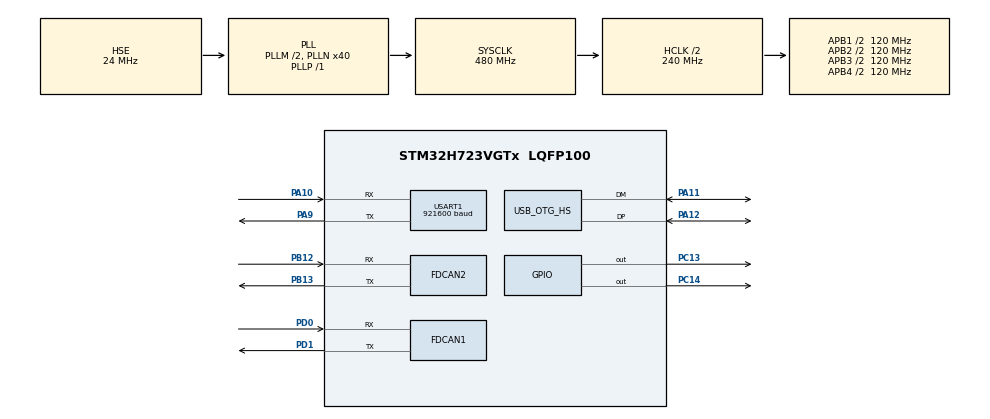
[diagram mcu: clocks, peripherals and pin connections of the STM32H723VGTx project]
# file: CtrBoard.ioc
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CORTEX_M7.CPU_DCache=Disabled
CORTEX_M7.CPU_ICache=Disabled
FDCAN1.AutoRetransmission=ENABLE
FDCAN1.CalculateBaudRateNominal=1000000
FDCAN1.CalculateTimeBitNominal=1000
FDCAN1.CalculateTimeQuantumNominal=12.5
FDCAN1.DataPrescaler=1
FDCAN1.DataSyncJumpWidth=2
FDCAN1.DataTimeSeg1=13
FDCAN1.DataTimeSeg2=2
FDCAN1.ExtFiltersNbr=4
FDCAN1.FrameFormat=FDCAN_FRAME_FD_BRS
FDCAN1.NominalPrescaler=1
FDCAN1.NominalSyncJumpWidth=20
FDCAN1.NominalTimeSeg1=59
FDCAN1.NominalTimeSeg2=20
FDCAN1.ProtocolException=ENABLE
FDCAN1.RxBufferSize=FDCAN_DATA_BYTES_8
FDCAN1.RxBuffersNbr=2
FDCAN1.RxFifo0ElmtSize=FDCAN_DATA_BYTES_8
FDCAN1.RxFifo0ElmtsNbr=10
FDCAN1.RxFifo1ElmtSize=FDCAN_DATA_BYTES_8
FDCAN1.RxFifo1ElmtsNbr=10
FDCAN1.StdFiltersNbr=4
FDCAN1.TxBuffersNbr=10
FDCAN1.TxElmtSize=FDCAN_DATA_BYTES_8
FDCAN1.TxEventsNbr=10
FDCAN1.TxFifoQueueElmtsNbr=10
FDCAN2.AutoRetransmission=ENABLE
FDCAN2.CalculateBaudRateNominal=1000000
FDCAN2.CalculateTimeBitNominal=1000
FDCAN2.CalculateTimeQuantumNominal=12.5
FDCAN2.DataSyncJumpWidth=2
FDCAN2.DataTimeSeg1=13
FDCAN2.DataTimeSeg2=2
FDCAN2.ExtFiltersNbr=4
FDCAN2.FrameFormat=FDCAN_FRAME_FD_BRS
FDCAN2.MessageRAMOffset=1024
FDCAN2.NominalPrescaler=1
FDCAN2.NominalSyncJumpWidth=20
FDCAN2.NominalTimeSeg1=59
FDCAN2.NominalTimeSeg2=20
FDCAN2.ProtocolException=ENABLE
FDCAN2.RxBuffersNbr=2
FDCAN2.RxFifo0ElmtsNbr=10
FDCAN2.RxFifo1ElmtsNbr=10
FDCAN2.StdFiltersNbr=4
FDCAN2.TxBuffersNbr=10
FDCAN2.TxEventsNbr=10
FDCAN2.TxFifoQueueElmtsNbr=10
Mcu.Family=STM32H7
Mcu.Name=STM32H723VGTx
Mcu.Package=LQFP100
NVIC.FDCAN1_IT0_IRQn=true\:0\:0\:false\:false\:true\:true\:true\:true
NVIC.FDCAN1_IT1_IRQn=true\:0\:0\:false\:false\:true\:true\:true\:true
NVIC.FDCAN2_IT0_IRQn=true\:0\:0\:false\:false\:true\:true\:true\:true
NVIC.FDCAN2_IT1_IRQn=true\:0\:0\:false\:false\:true\:true\:true\:true
NVIC.FDCAN_CAL_IRQn=true\:0\:0\:false\:false\:true\:true\:true\:true
NVIC.OTG_HS_IRQn=true\:0\:0\:false\:false\:true\:false\:true\:true
NVIC.PriorityGroup=NVIC_PRIORITYGROUP_4
NVIC.TIM3_IRQn=true\:0\:0\:false\:false\:true\:true\:true\:true
NVIC.TIM4_IRQn=true\:0\:0\:false\:false\:true\:true\:true\:true
PA10.Mode=Asynchronous
PA10.Signal=USART1_RX
PA11.Mode=Device_Only_FS
PA11.Signal=USB_OTG_HS_DM
PA12.Mode=Device_Only_FS
PA12.Signal=USB_OTG_HS_DP
PA13(JTMS/SWDIO).Mode=Serial_Wire
PA13(JTMS/SWDIO).Signal=DEBUG_JTMS-SWDIO
PA14(JTCK/SWCLK).Mode=Serial_Wire
PA14(JTCK/SWCLK).Signal=DEBUG_JTCK-SWCLK
PA9.Mode=Asynchronous
PA9.Signal=USART1_TX
PB12.Mode=FDCAN_Activate
PB12.Signal=FDCAN2_RX
PB13.Mode=FDCAN_Activate
PB13.Signal=FDCAN2_TX
PC13.GPIO_PuPd=GPIO_PULLUP
PC13.PinState=GPIO_PIN_SET
PC13.Signal=GPIO_Output
PC14-OSC32_IN.GPIO_ModeDefaultOutputPP=GPIO_MODE_OUTPUT_PP
PC14-OSC32_IN.GPIO_PuPd=GPIO_PULLUP
PC14-OSC32_IN.GPIO_Speed=GPIO_SPEED_FREQ_LOW
PC14-OSC32_IN.PinState=GPIO_PIN_SET
PC14-OSC32_IN.Signal=GPIO_Output
PD0.Mode=FDCAN_Activate
PD0.Signal=FDCAN1_RX
PD1.Mode=FDCAN_Activate
PD1.Signal=FDCAN1_TX
PH0-OSC_IN.Mode=HSE-External-Oscillator
PH0-OSC_IN.Signal=RCC_OSC_IN
PH1-OSC_OUT.Mode=HSE-External-Oscillator
PH1-OSC_OUT.Signal=RCC_OSC_OUT
ProjectManager.HeapSize=0x2000
ProjectManager.StackSize=0x400
ProjectManager.TargetToolchain=MDK-ARM V5.32
RCC.ADCFreq_Value=48375000
RCC.APB1Freq_Value=120000000
RCC.APB2Freq_Value=120000000
RCC.APB3Freq_Value=120000000
RCC.APB4Freq_Value=120000000
RCC.CortexFreq_Value=480000000
RCC.D1PPRE=RCC_APB3_DIV2
RCC.D2PPRE1=RCC_APB1_DIV2
RCC.D2PPRE2=RCC_APB2_DIV2
RCC.D3PPRE=RCC_APB4_DIV2
RCC.DIVM1=2
RCC.DIVN1=40
RCC.DIVP1=1
RCC.DIVQ1=6
RCC.HCLKFreq_Value=240000000
RCC.HPRE=RCC_HCLK_DIV2
RCC.HSE_VALUE=24000000
RCC.PLLFRACN=0
RCC.PLLSourceVirtual=RCC_PLLSOURCE_HSE
RCC.RCC_MCO1Source=RCC_MCO1SOURCE_HSE
RCC.SYSCLKFreq_VALUE=480000000
RCC.SYSCLKSource=RCC_SYSCLKSOURCE_PLLCLK
RCC.USBCLockSelection=RCC_USBCLKSOURCE_HSI48
RCC.USBFreq_Value=48000000
TIM3.Period=1000-1
TIM3.Prescaler=240-1
TIM4.Period=1000-1
TIM4.Prescaler=240-1
USART1.BaudRate=921600
USART1.VirtualMode-Asynchronous=VM_ASYNC
USB_DEVICE.CLASS_NAME_HS=CDC
USB_DEVICE.VirtualMode=Cdc
USB_DEVICE.VirtualModeHS=Cdc_HS
USB_OTG_HS.VirtualMode-Device_Only_FS=Device_Only_FS
VP_MEMORYMAP_VS_MEMORYMAP.Mode=CurAppReg
VP_TIM3_VS_ClockSourceINT.Mode=Internal
VP_TIM4_VS_ClockSourceINT.Mode=Internal
VP_USB_DEVICE_VS_USB_DEVICE_CDC_HS.Mode=CDC_HS
board=custom

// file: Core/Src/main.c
/* USER CODE BEGIN Header */
/**
  ******************************************************************************
  * @file           : main.c
  * @brief          : Main program body
  ******************************************************************************
  * @attention
  *
  * Copyright (c) 2024 STMicroelectronics.
  * All rights reserved.
  *
  * This software is licensed under terms that can be found in the LICENSE file
  * in the root directory of this software component.
  * If no LICENSE file comes with this software, it is provided AS-IS.
  *
  ******************************************************************************
  */
/* USER CODE END Header */
#include "main.h"
#include "fdcan.h"
#include "memorymap.h"
#include "tim.h"
#include "usart.h"
#include "usb_device.h"
#include "gpio.h"

/* USER CODE BEGIN Includes */
#include "bsp_fdcan.h"
#include "dm_motor_ctrl.h"

// 新增：引入USB虚拟串口通信接口和标准输入输出库
#include "usbd_cdc_if.h"
#include <stdio.h>
/* USER CODE END Includes */

/* USER CODE BEGIN PV */
// 【修改点】增加用于软件零点对齐的全局变量
volatile uint8_t zero_calibrated = 0; // 0:未校准, 1:已校准
float offset_motor1 = 0.0f;           // A电机初始绝对位置
float offset_motor2 = 0.0f;           // B电机初始绝对位置
extern FDCAN_HandleTypeDef hfdcan2;   // 引入FDCAN2句柄

// 新增：USB发送相关的定时变量和缓冲区
uint32_t last_usb_tx_time = 0;
char usb_tx_buf[128];                 // USB发送缓冲区
/* USER CODE END PV */

void SystemClock_Config(void);

/* USER CODE BEGIN 0 */
void HAL_TIM_PeriodElapsedCallback(TIM_HandleTypeDef *htim)
{
  /* USER CODE BEGIN Callback 0 */
	if (htim->Instance == TIM3) {

        // 【修改点】双向力反馈交叉赋值控制逻辑
        if (zero_calibrated) {
            // 1. 计算以各自上电时刻为基准的【相对位置】
            float rel_pos1 = motor[Motor1].para.pos - offset_motor1;
            float rel_pos2 = motor[Motor2].para.pos - offset_motor2;

            // 2. 交叉追踪逻辑 (目标位置 = 对方的相对位置 + 自己的零点偏移)
            motor[Motor1].ctrl.pos_set = rel_pos2 + offset_motor1;
            motor[Motor1].ctrl.vel_set = motor[Motor2].para.vel;

            // 【新增】给Motor1（FDCAN1）增加恒定前馈偏置扭矩 0.3Nm
            // 注意：达妙电机的正负号决定顺逆时针，如果你发现 0.3f 是顺时针，请改为 -0.3f
            motor[Motor1].ctrl.tor_set = 0.3f;

            motor[Motor2].ctrl.pos_set = rel_pos1 + offset_motor2;
            motor[Motor2].ctrl.vel_set = motor[Motor1].para.vel;

            // 【新增】确保Motor2没有前馈扭矩
            motor[Motor2].ctrl.tor_set = 0.0f;
        } else {
            // 在未校准前，强制目标位置等于当前位置，保持完全静止，防止意外运动
            motor[Motor1].ctrl.pos_set = motor[Motor1].para.pos;
            motor[Motor1].ctrl.vel_set = 0.0f;
            motor[Motor1].ctrl.tor_set = 0.0f; // 【新增】未校准前，绝对不能给前馈扭矩

            motor[Motor2].ctrl.pos_set = motor[Motor2].para.pos;
            motor[Motor2].ctrl.vel_set = 0.0f;
            motor[Motor2].ctrl.tor_set = 0.0f; // 【新增】未校准前，绝对不能给前馈扭矩
        }

        // 分别通过 FDCAN1 和 FDCAN2 向两个电机发送控制指令
        dm_motor_ctrl_send(&hfdcan1, &motor[Motor1]);
        dm_motor_ctrl_send(&hfdcan2, &motor[Motor2]);
	}
}
/* USER CODE END 0 */

int main(void)
{

  /* MCU Configuration--------------------------------------------------------*/

  /* Reset of all peripherals, Initializes the Flash interface and the Systick. */
  HAL_Init();

  /* Configure the system clock */
  SystemClock_Config();

  /* Initialize all configured peripherals */
  MX_GPIO_Init();
  MX_FDCAN1_Init();
  MX_TIM3_Init();
  MX_USART1_UART_Init();
  MX_TIM4_Init();
  MX_FDCAN2_Init();
  MX_USB_DEVICE_Init();
  /* USER CODE BEGIN 2 */
	power(1);
	HAL_Delay(1000);

    // 【修改点】同时设置两个CAN的波特率
	bsp_fdcan_set_baud(&hfdcan1, CAN_CLASS, CAN_BR_1M);
    bsp_fdcan_set_baud(&hfdcan2, CAN_CLASS, CAN_BR_1M);

	bsp_can_init();
	dm_motor_init();

	HAL_Delay(100);

    // (注释掉你原有保存参数的这部分测试代码，直接进入控制逻辑)
	/*
	write_motor_data(motor[Motor1].id, 10, mit_mode, 0, 0, 0);
	HAL_Delay(100);
	read_motor_data(motor[Motor1].id, RID_CAN_BR);
	dm_motor_disable(&hfdcan1, &motor[Motor1]);
	HAL_Delay(100);
	save_motor_data(motor[Motor1].id, 10);
	HAL_Delay(100);
    */

    // 【修改点】使能两个电机 (此时 Kp=0, Kd=0，电机处于自由状态)
	dm_motor_enable(&hfdcan1, &motor[Motor1]);
    dm_motor_enable(&hfdcan2, &motor[Motor2]);

    // 开启控制循环定时器，触发电机开始不断回传当前位置
	HAL_TIM_Base_Start_IT(&htim3);

    // 【修改点】等待500ms，确保接收到两台电机的反馈帧数据
	HAL_Delay(500);

    // 【修改点】记录此时两台电机的绝对位置，作为各自的“软件零点”
    offset_motor1 = motor[Motor1].para.pos;
    offset_motor2 = motor[Motor2].para.pos;

    // 【修改点】平滑恢复刚度与阻尼，此时因为相对误差绝对为0，瞬间施加力矩也完全不会跳跃！
    // 注意：Kp、Kd的数值请根据实际手感微调，1.0 和 0.1 只是安全起步值
    // （修复潜在数据竞争：先设置控制参数，再解除校准锁定标志）
    motor[Motor1].ctrl.kp_set = 2.0f;
    motor[Motor1].ctrl.kd_set = 0.008f;
    motor[Motor2].ctrl.kp_set = 2.0f;
    motor[Motor2].ctrl.kd_set = 0.008f;

    // 标志位置1，控制循环会开始进行相对位置耦合运算
    zero_calibrated = 1;

  /* USER CODE END 2 */

  /* Infinite loop */
  while (1)
  {
    // 设定 10ms (100Hz) 的频率发送数据，避免高频发包阻塞主循环
      if (HAL_GetTick() - last_usb_tx_time >= 10)
      {
          last_usb_tx_time = HAL_GetTick();

          // 确保电机已经初始化并对齐零点，避免输出全 0 的无效数据
          if (zero_calibrated)
          {
              // 安全的格式化字符串，防止内存溢出
              int len = snprintf(usb_tx_buf, sizeof(usb_tx_buf),
                               "M1: P:%.3f V:%.2f T:%.2f | M2: P:%.3f V:%.2f T:%.2f\r\n",
                               motor[Motor1].para.pos, motor[Motor1].para.vel, motor[Motor1].para.tor,
                               motor[Motor2].para.pos, motor[Motor2].para.vel, motor[Motor2].para.tor);

              if (len > 0) {
                  // 通过 USB HS 虚拟串口接口发送数据
                  // 如果返回 BUSY 就直接丢弃本次数据，保证控制系统的实时性
                  if (CDC_Transmit_HS((uint8_t *)usb_tx_buf, (uint16_t)len) == USBD_BUSY) {
                      // 丢弃策略：繁忙时不等待，直接进入下一次循环
                  }
              }
          }
      }
  }
}

void SystemClock_Config(void)
{
  RCC_OscInitTypeDef RCC_OscInitStruct = {0};
  RCC_ClkInitTypeDef RCC_ClkInitStruct = {0};

  /** Supply configuration update enable
  */
  HAL_PWREx_ConfigSupply(PWR_LDO_SUPPLY);

  /** Configure the main internal regulator output voltage
  */
  __HAL_PWR_VOLTAGESCALING_CONFIG(PWR_REGULATOR_VOLTAGE_SCALE0);

  while(!__HAL_PWR_GET_FLAG(PWR_FLAG_VOSRDY)) {}

  /** Initializes the RCC Oscillators according to the specified parameters
  * in the RCC_OscInitTypeDef structure.
  */
  RCC_OscInitStruct.OscillatorType = RCC_OSCILLATORTYPE_HSI48|RCC_OSCILLATORTYPE_HSE;
  RCC_OscInitStruct.HSEState = RCC_HSE_ON;
  RCC_OscInitStruct.HSI48State = RCC_HSI48_ON;
  RCC_OscInitStruct.PLL.PLLState = RCC_PLL_ON;
  RCC_OscInitStruct.PLL.PLLSource = RCC_PLLSOURCE_HSE;
  RCC_OscInitStruct.PLL.PLLM = 2;
  RCC_OscInitStruct.PLL.PLLN = 40;
  RCC_OscInitStruct.PLL.PLLP = 1;
  RCC_OscInitStruct.PLL.PLLQ = 6;
  RCC_OscInitStruct.PLL.PLLR = 2;
  RCC_OscInitStruct.PLL.PLLRGE = RCC_PLL1VCIRANGE_3;
  RCC_OscInitStruct.PLL.PLLVCOSEL = RCC_PLL1VCOWIDE;
  RCC_OscInitStruct.PLL.PLLFRACN = 0;
  if (HAL_RCC_OscConfig(&RCC_OscInitStruct) != HAL_OK)
  {
    Error_Handler();
  }

  /** Initializes the CPU, AHB and APB buses clocks
  */
  RCC_ClkInitStruct.ClockType = RCC_CLOCKTYPE_HCLK|RCC_CLOCKTYPE_SYSCLK
                              |RCC_CLOCKTYPE_PCLK1|RCC_CLOCKTYPE_PCLK2
                              |RCC_CLOCKTYPE_D3PCLK1|RCC_CLOCKTYPE_D1PCLK1;
  RCC_ClkInitStruct.SYSCLKSource = RCC_SYSCLKSOURCE_PLLCLK;
  RCC_ClkInitStruct.SYSCLKDivider = RCC_SYSCLK_DIV1;
  RCC_ClkInitStruct.AHBCLKDivider = RCC_HCLK_DIV2;
  RCC_ClkInitStruct.APB3CLKDivider = RCC_APB3_DIV2;
  RCC_ClkInitStruct.APB1CLKDivider = RCC_APB1_DIV2;
  RCC_ClkInitStruct.APB2CLKDivider = RCC_APB2_DIV2;
  RCC_ClkInitStruct.APB4CLKDivider = RCC_APB4_DIV2;

  if (HAL_RCC_ClockConfig(&RCC_ClkInitStruct, FLASH_LATENCY_3) != HAL_OK)
  {
    Error_Handler();
  }
}

void Error_Handler(void)
{
  __disable_irq();
  while (1)
  {
  }
}
